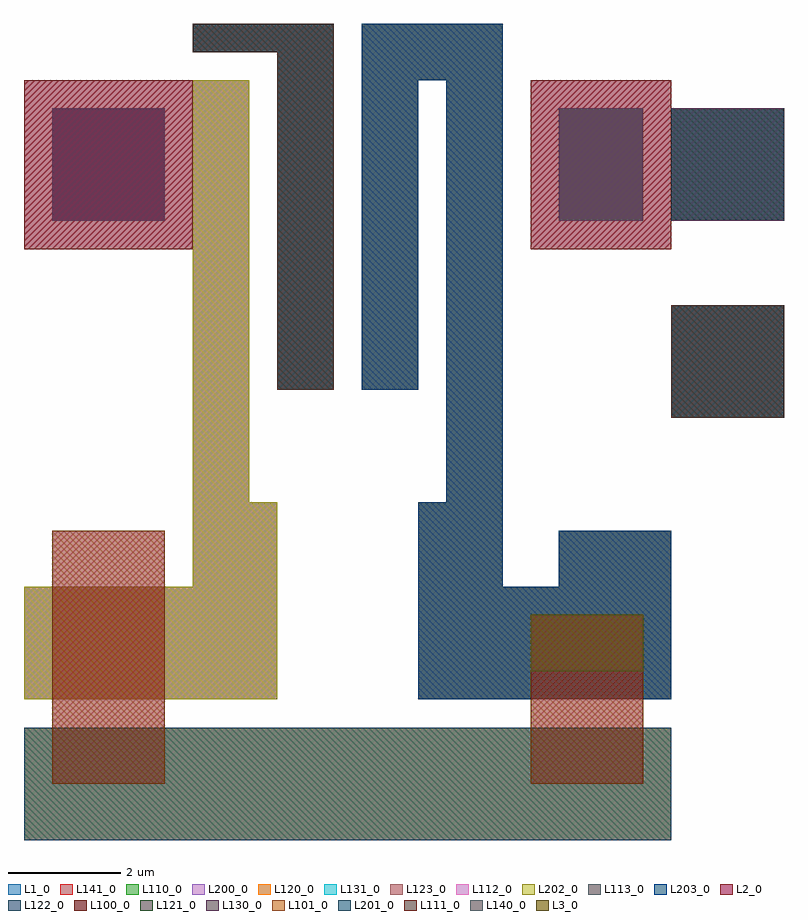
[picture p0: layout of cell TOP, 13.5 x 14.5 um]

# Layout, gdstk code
from math import pi, radians
import gdstk
lib = gdstk.Library(unit=1e-6, precision=1e-09)
def R(c, l, rs):  # rectangles x0, y0, x1, y1
    for r in rs: c.add(gdstk.rectangle(r[:2], r[2:], *l))
def P(c, l, *ps):  # polygons
    for p in ps: c.add(gdstk.Polygon(p, *l))
L1_0 = (1, 0)
L2_0 = (2, 0)
L3_0 = (3, 0)
L100_0 = (100, 0)
L101_0 = (101, 0)
L110_0 = (110, 0)
L111_0 = (111, 0)
L112_0 = (112, 0)
L113_0 = (113, 0)
L120_0 = (120, 0)
L121_0 = (121, 0)
L122_0 = (122, 0)
L123_0 = (123, 0)
L130_0 = (130, 0)
L131_0 = (131, 0)
L140_0 = (140, 0)
L141_0 = (141, 0)
L200_0 = (200, 0)
L201_0 = (201, 0)
L202_0 = (202, 0)
L203_0 = (203, 0)

part = lib.new_cell('PART')
R(part, L1_0, [(0,0,1,5.5)])

child = lib.new_cell('CHILD')
R(child, L1_0, [(-0.5,-5.5,0,-2), (1,-5.5,4,-3.5), (2,3,3.5,5)])
R(child, L2_0, [(1.5,-7,3.5,-4), (1.5,2.5,4,5.5)])
child.add(gdstk.Reference(part, (0,0)))
child.add(gdstk.Reference(part, (0,-5.5)))
child.add(gdstk.Reference(part, (-1.5,0)))

top = lib.new_cell('TOP')
R(top, L1_0, [(-7.5,-8,-4.5,-6), (-4.5,-8,1,-6), (1,-8,4,-6), (2,-3.5,4,-2.5), (4,-0.5,6,1.5), (-6,3,-5,5), (4,3,6,5), (-3,5.5,-2,6.5), (-1.5,5.5,1,6.5), (-4.5,6,-3,6.5)])
R(top, L2_0, [(-7,-4,-5,-2.5), (-5.5,2.5,-4.5,5.5)])
R(top, L3_0, [(1.5,-5,3.5,-4)])
R(top, L100_0, [(-7.5,2.5,-4.5,5.5), (1.5,2.5,4,5.5)])
R(top, L101_0, [(-7,-7,-5,-2.5), (1.5,-7,3.5,-4)])
R(top, L110_0, [(-7.5,-8,4,-6), (-7,3,-5,5), (2,3,3.5,5), (4,3,6,5)])
P(top, L110_0, [(-0.5,-5.5),(-0.5,-2),(0,-2),(0,5.5),(-0.5,5.5),(-0.5,0),(-1.5,0),(-1.5,6.5),(1,6.5),(1,-3.5),(2,-3.5),(2,-2.5),(4,-2.5),(4,-5.5)],
  [(-7.5,-5.5),(-7.5,-3.5),(-4.5,-3.5),(-4.5,5.5),(-3.5,5.5),(-3.5,-2),(-3,-2),(-3,-5.5)])
R(top, L111_0, [(4,-0.5,6,1.5)])
P(top, L111_0, [(-3,0),(-3,6),(-4.5,6),(-4.5,6.5),(-2,6.5),(-2,0)])
R(top, L112_0, [(-7.5,-8,4,-6)])
P(top, L112_0, [(-7.5,-5.5),(-7.5,-3.5),(-4.5,-3.5),(-4.5,5.5),(-3.5,5.5),(-3.5,-2),(-3,-2),(-3,-5.5)])
R(top, L113_0, [(-7,3,-5,5), (2,3,3.5,5), (4,3,6,5)])
P(top, L113_0, [(-0.5,-5.5),(-0.5,-2),(0,-2),(0,5.5),(-0.5,5.5),(-0.5,0),(-1.5,0),(-1.5,6.5),(1,6.5),(1,-3.5),(2,-3.5),(2,-2.5),(4,-2.5),(4,-5.5)])
R(top, L120_0, [(-7.5,-8,4,-6), (-7,3,-5,5), (2,3,3.5,5)])
P(top, L120_0, [(-0.5,-5.5),(-0.5,-2),(0,-2),(0,5.5),(-0.5,5.5),(-0.5,0),(-1.5,0),(-1.5,6.5),(1,6.5),(1,-3.5),(2,-3.5),(2,-2.5),(4,-2.5),(4,-5.5)],
  [(-7.5,-5.5),(-7.5,-3.5),(-4.5,-3.5),(-4.5,5.5),(-3.5,5.5),(-3.5,-2),(-3,-2),(-3,-5.5)])
R(top, L121_0, [(4,-0.5,6,1.5), (4,3,6,5)])
P(top, L121_0, [(-3,0),(-3,6),(-4.5,6),(-4.5,6.5),(-2,6.5),(-2,0)])
R(top, L122_0, [(-7.5,-8,4,-6)])
R(top, L123_0, [(-7,3,-5,5), (2,3,3.5,5)])
P(top, L123_0, [(-0.5,-5.5),(-0.5,-2),(0,-2),(0,5.5),(-0.5,5.5),(-0.5,0),(-1.5,0),(-1.5,6.5),(1,6.5),(1,-3.5),(2,-3.5),(2,-2.5),(4,-2.5),(4,-5.5)],
  [(-7.5,-5.5),(-7.5,-3.5),(-4.5,-3.5),(-4.5,5.5),(-3.5,5.5),(-3.5,-2),(-3,-2),(-3,-5.5)])
R(top, L130_0, [(4,-0.5,6,1.5), (4,3,6,5)])
P(top, L130_0, [(-3,0),(-3,6),(-4.5,6),(-4.5,6.5),(-2,6.5),(-2,0)])
R(top, L131_0, [(-7.5,-8,4,-6), (-7,3,-5,5), (2,3,3.5,5)])
P(top, L131_0, [(-0.5,-5.5),(-0.5,-2),(0,-2),(0,5.5),(-0.5,5.5),(-0.5,0),(-1.5,0),(-1.5,6.5),(1,6.5),(1,-3.5),(2,-3.5),(2,-2.5),(4,-2.5),(4,-5.5)],
  [(-7.5,-5.5),(-7.5,-3.5),(-4.5,-3.5),(-4.5,5.5),(-3.5,5.5),(-3.5,-2),(-3,-2),(-3,-5.5)])
R(top, L140_0, [(-7,3,-5,5), (2,3,3.5,5)])
R(top, L141_0, [(-7.5,-8,4,-6), (4,-0.5,6,1.5), (4,3,6,5)])
P(top, L141_0, [(-3,0),(-3,6),(-4.5,6),(-4.5,6.5),(-2,6.5),(-2,0)],
  [(-0.5,-5.5),(-0.5,-2),(0,-2),(0,5.5),(-0.5,5.5),(-0.5,0),(-1.5,0),(-1.5,6.5),(1,6.5),(1,-3.5),(2,-3.5),(2,-2.5),(4,-2.5),(4,-5.5)],
  [(-7.5,-5.5),(-7.5,-3.5),(-4.5,-3.5),(-4.5,5.5),(-3.5,5.5),(-3.5,-2),(-3,-2),(-3,-5.5)])
R(top, L200_0, [(-7.5,-8,4,-6), (-7,3,-5,5), (4,3,6,5)])
P(top, L200_0, [(-0.5,-5.5),(-0.5,-2),(0,-2),(0,5.5),(-0.5,5.5),(-0.5,0),(-1.5,0),(-1.5,6.5),(1,6.5),(1,-3.5),(2,-3.5),(2,-2.5),(4,-2.5),(4,-5.5)],
  [(-7.5,-5.5),(-7.5,-3.5),(-4.5,-3.5),(-4.5,5.5),(-3.5,5.5),(-3.5,-2),(-3,-2),(-3,-5.5)])
R(top, L201_0, [(4,-0.5,6,1.5), (2,3,3.5,5)])
P(top, L201_0, [(-3,0),(-3,6),(-4.5,6),(-4.5,6.5),(-2,6.5),(-2,0)])
R(top, L202_0, [(-7.5,-8,4,-6)])
P(top, L202_0, [(-7.5,-5.5),(-7.5,-3.5),(-4.5,-3.5),(-4.5,5.5),(-3.5,5.5),(-3.5,-2),(-3,-2),(-3,-5.5)])
R(top, L203_0, [(-7,3,-5,5), (4,3,6,5)])
P(top, L203_0, [(-0.5,-5.5),(-0.5,-2),(0,-2),(0,5.5),(-0.5,5.5),(-0.5,0),(-1.5,0),(-1.5,6.5),(1,6.5),(1,-3.5),(2,-3.5),(2,-2.5),(4,-2.5),(4,-5.5)])
top.add(gdstk.Reference(child, (0,0)))
top.add(gdstk.Reference(child, (-3.5,0), rotation=pi, x_reflection=True))

lib.write_gds('TOP.gds')
